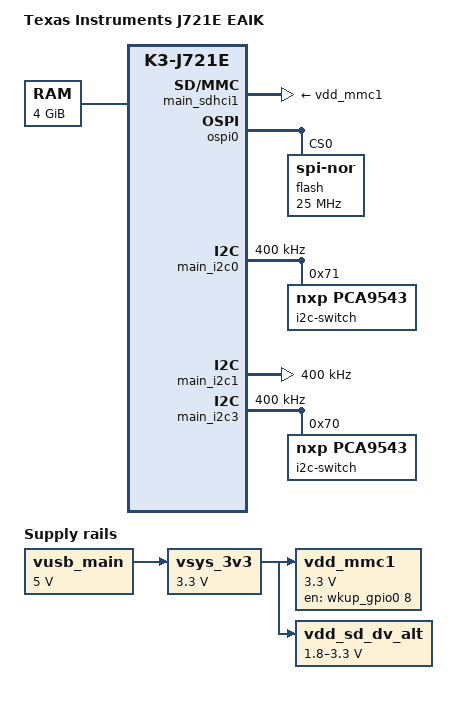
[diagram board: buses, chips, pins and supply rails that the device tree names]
// SPDX-License-Identifier: GPL-2.0
/*
 * Copyright (C) 2021 Texas Instruments Incorporated - https://www.ti.com/
 */

/dts-v1/;

#include "k3-j721e.dtsi"
#include <dt-bindings/gpio/gpio.h>
#include <dt-bindings/input/input.h>
#include <dt-bindings/net/ti-dp83867.h>

/ {
	compatible = "ti,j721e-eaik", "ti,j721e";
	model = "Texas Instruments J721E EAIK";

	chosen {
		stdout-path = "serial2:115200n8";
		bootargs = "console=ttyS2,115200n8 earlycon=ns16550a,mmio32,0x02800000";
	};

	memory@80000000 {
		device_type = "memory";
		/* 4G RAM */
		reg = <0x00000000 0x80000000 0x00000000 0x80000000>,
		      <0x00000008 0x80000000 0x00000000 0x80000000>;
	};

	reserved_memory: reserved-memory {
		#address-cells = <2>;
		#size-cells = <2>;
		ranges;

		secure_ddr: optee@9e800000 {
			reg = <0x00 0x9e800000 0x00 0x01800000>;
			alignment = <0x1000>;
			no-map;
		};
	};

	vusb_main: fixedregulator-vusb-main5v0 {
		/* USB MAIN INPUT 5V DC */
		compatible = "regulator-fixed";
		regulator-name = "vusb-main5v0";
		regulator-min-microvolt = <5000000>;
		regulator-max-microvolt = <5000000>;
		regulator-always-on;
		regulator-boot-on;
	};

	vsys_3v3: fixedregulator-vsys3v3 {
		/* Output of LM5141 */
		compatible = "regulator-fixed";
		regulator-name = "vsys_3v3";
		regulator-min-microvolt = <3300000>;
		regulator-max-microvolt = <3300000>;
		vin-supply = <&vusb_main>;
		regulator-always-on;
		regulator-boot-on;
	};

	vdd_mmc1: fixedregulator-sd {
		compatible = "regulator-fixed";
		pinctrl-names = "default";
		pinctrl-0 = <&vdd_mmc1_en_pins_default>;
		regulator-name = "vdd_mmc1";
		regulator-min-microvolt = <3300000>;
		regulator-max-microvolt = <3300000>;
		regulator-boot-on;
		enable-active-high;
		vin-supply = <&vsys_3v3>;
		gpio = <&wkup_gpio0 8 GPIO_ACTIVE_HIGH>;
	};

	vdd_sd_dv_alt: gpio-regulator-tps659411 {
		compatible = "regulator-gpio";
		pinctrl-names = "default";
		pinctrl-0 = <&vdd_sd_dv_alt_pins_default>;
		regulator-name = "tps659411";
		regulator-min-microvolt = <1800000>;
		regulator-max-microvolt = <3300000>;
		regulator-boot-on;
		vin-supply = <&vsys_3v3>;
		gpios = <&wkup_gpio0 9 GPIO_ACTIVE_HIGH>;
		states = <1800000 0x0>,
			 <3300000 0x1>;
	};
};

&main_pmx0 {
	main_mmc1_pins_default: main-mmc1-pins-default {
		pinctrl-single,pins = <
			J721E_IOPAD(0x254, PIN_INPUT, 0) /* (R29) MMC1_CMD */
			J721E_IOPAD(0x250, PIN_INPUT, 0) /* (P25) MMC1_CLK */
			J721E_IOPAD(0x2ac, PIN_INPUT, 0) /* (P25) MMC1_CLKLB */
			J721E_IOPAD(0x24c, PIN_INPUT, 0) /* (R24) MMC1_DAT0 */
			J721E_IOPAD(0x248, PIN_INPUT, 0) /* (P24) MMC1_DAT1 */
			J721E_IOPAD(0x244, PIN_INPUT, 0) /* (R25) MMC1_DAT2 */
			J721E_IOPAD(0x240, PIN_INPUT, 0) /* (R26) MMC1_DAT3 */
			J721E_IOPAD(0x258, PIN_INPUT, 0) /* (P23) MMC1_SDCD */
		>;
	};

	main_uart0_pins_default: main-uart0-pins-default {
		pinctrl-single,pins = <
			J721E_IOPAD(0x1f0, PIN_INPUT, 0) /* (AC2) UART0_CTSn */
			J721E_IOPAD(0x1f4, PIN_OUTPUT, 0) /* (AB1) UART0_RTSn */
			J721E_IOPAD(0x1e8, PIN_INPUT, 0) /* (AB2) UART0_RXD */
			J721E_IOPAD(0x1ec, PIN_OUTPUT, 0) /* (AB3) UART0_TXD */
		>;
	};

	main_i2c0_pins_default: main-i2c0-pins-default {
		pinctrl-single,pins = <
			J721E_IOPAD(0x220, PIN_INPUT_PULLUP, 0) /* (AC5) I2C0_SCL */
			J721E_IOPAD(0x224, PIN_INPUT_PULLUP, 0) /* (AA5) I2C0_SDA */
		>;
	};

	main_i2c1_pins_default: main-i2c1-pins-default {
		pinctrl-single,pins = <
			J721E_IOPAD(0x228, PIN_INPUT_PULLUP, 0) /* (Y6) I2C1_SCL */
			J721E_IOPAD(0x22c, PIN_INPUT_PULLUP, 0) /* (AA6) I2C1_SDA */
		>;
	};

	main_i2c3_pins_default: main-i2c3-pins-default {
		pinctrl-single,pins = <
			J721E_IOPAD(0x270, PIN_INPUT_PULLUP, 4) /* (T26) MMC2_CLK.I2C3_SCL */
			J721E_IOPAD(0x274, PIN_INPUT_PULLUP, 4) /* (T25) MMC2_CMD.I2C3_SDA */
		>;
	};
};

&wkup_pmx0 {
	mcu_fss0_ospi0_pins_default: mcu-fss0-ospi0-pins-default {
		pinctrl-single,pins = <
			J721E_WKUP_IOPAD(0x0, PIN_OUTPUT, 0) /* (E20) MCU_OSPI0_CLK */
			J721E_WKUP_IOPAD(0x2c, PIN_OUTPUT, 0) /* (F19) MCU_OSPI0_CSn0 */
			J721E_WKUP_IOPAD(0xc, PIN_INPUT, 0) /* (D20) MCU_OSPI0_D0 */
			J721E_WKUP_IOPAD(0x10, PIN_INPUT, 0) /* (G19) MCU_OSPI0_D1 */
			J721E_WKUP_IOPAD(0x14, PIN_INPUT, 0) /* (G20) MCU_OSPI0_D2 */
			J721E_WKUP_IOPAD(0x18, PIN_INPUT, 0) /* (F20) MCU_OSPI0_D3 */
			J721E_WKUP_IOPAD(0x1c, PIN_INPUT, 0) /* (F21) MCU_OSPI0_D4 */
			J721E_WKUP_IOPAD(0x20, PIN_INPUT, 0) /* (E21) MCU_OSPI0_D5 */
			J721E_WKUP_IOPAD(0x24, PIN_INPUT, 0) /* (B22) MCU_OSPI0_D6 */
			J721E_WKUP_IOPAD(0x28, PIN_INPUT, 0) /* (G21) MCU_OSPI0_D7 */
			J721E_WKUP_IOPAD(0x8, PIN_INPUT, 0) /* (D21) MCU_OSPI0_DQS */
		>;
	};

	vdd_mmc1_en_pins_default: vdd-mmc1-en-pins-default {
		pinctrl-single,pins = <
			J721E_WKUP_IOPAD(0xd0, PIN_OUTPUT, 7) /* (G27) WKUP_GPIO0_8 */
		>;
	};

	vdd_sd_dv_alt_pins_default: vdd-sd-dv-alt-pins-default {
		pinctrl-single,pins = <
			J721E_WKUP_IOPAD(0xd4, PIN_OUTPUT, 7) /* (G26) WKUP_GPIO0_9 */
		>;
	};

	wkup_i2c0_pins_default: wkup-i2c0-pins-default {
		pinctrl-single,pins = <
			J721E_WKUP_IOPAD(0xf8, PIN_INPUT_PULLUP, 0) /* (J25) WKUP_I2C0_SCL */
			J721E_WKUP_IOPAD(0xfc, PIN_INPUT_PULLUP, 0) /* (H24) WKUP_I2C0_SDA */
		>;
	};
};

&wkup_uart0 {
	/* Wakeup UART is used by System firmware */
	status = "reserved";
};

&main_uart0 {
	pinctrl-names = "default";
	pinctrl-0 = <&main_uart0_pins_default>;
	/* Shared with ATF on this platform */
	power-domains = <&k3_pds 146 TI_SCI_PD_SHARED>;
};

&main_uart2 {
	/* Brought out on RPi header */
	status = "disabled";
};

&main_uart3 {
	/* UART not brought out */
	status = "disabled";
};

&main_uart5 {
	/* UART not brought out */
	status = "disabled";
};

&main_uart6 {
	/* UART not brought out */
	status = "disabled";
};

&main_uart7 {
	/* UART not brought out */
	status = "disabled";
};

&main_uart8 {
	/* UART not brought out */
	status = "disabled";
};

&main_uart9 {
	/* Brought out on M.2 E Key */
	status = "disabled";
};

&main_sdhci0 {
	/* Unused */
	status = "disabled";
};

&main_sdhci1 {
	/* SD Card */
	vmmc-supply = <&vdd_mmc1>;
	vqmmc-supply = <&vdd_sd_dv_alt>;
	pinctrl-names = "default";
	pinctrl-0 = <&main_mmc1_pins_default>;
	ti,driver-strength-ohm = <50>;
	disable-wp;
};

&main_sdhci2 {
	/* Unused */
	status = "disabled";
};

&ospi0 {
	pinctrl-names = "default";
	pinctrl-0 = <&mcu_fss0_ospi0_pins_default>;

	flash@0 {
		compatible = "jedec,spi-nor";
		reg = <0x0>;
		spi-tx-bus-width = <8>;
		spi-rx-bus-width = <8>;
		spi-max-frequency = <25000000>;
		cdns,tshsl-ns = <60>;
		cdns,tsd2d-ns = <60>;
		cdns,tchsh-ns = <60>;
		cdns,tslch-ns = <60>;
		cdns,read-delay = <4>;
		#address-cells = <1>;
		#size-cells = <1>;
	};
};

&ospi1 {
	/* Unused */
	status = "disabled";
};

&main_i2c0 {
	pinctrl-names = "default";
	pinctrl-0 = <&main_i2c0_pins_default>;
	clock-frequency = <400000>;

	i2c-switch@71 {
		compatible = "nxp,pca9543";
		#address-cells = <1>;
		#size-cells = <0>;
		reg = <0x71>;

		/* PCIe1 M.2 M Key I2C */
		pcie1_m2_i2c: i2c@0 {
			#address-cells = <1>;
			#size-cells = <0>;
			reg = <0>;
		};

		/* PCIe0 M.2 E Key I2C */
		pcie0_m2_i2c: i2c@1 {
			#address-cells = <1>;
			#size-cells = <0>;
			reg = <1>;
		};
	};
};

&main_i2c1 {
	pinctrl-names = "default";
	pinctrl-0 = <&main_i2c1_pins_default>;
	clock-frequency = <400000>;
};

&main_i2c3 {
	pinctrl-names = "default";
	pinctrl-0 = <&main_i2c3_pins_default>;
	clock-frequency = <400000>;

	i2c-switch@70 {
		compatible = "nxp,pca9543";
		#address-cells = <1>;
		#size-cells = <0>;
		reg = <0x70>;

		/* CAM0 I2C */
		ti_cam0_i2c: i2c@0 {
			#address-cells = <1>;
			#size-cells = <0>;
			reg = <0>;
		};

		/* CAM1 I2C */
		rpi_cam0_i2c: i2c@1 {
			#address-cells = <1>;
			#size-cells = <0>;
			reg = <1>;
		};
	};
};

&main_i2c4 {
	/* Unused */
	status = "disabled";
};

&main_i2c5 {
	/* Brought out on RPi Header */
	status = "disabled";
};

&main_i2c6 {
	/* Unused */
	status = "disabled";
};
